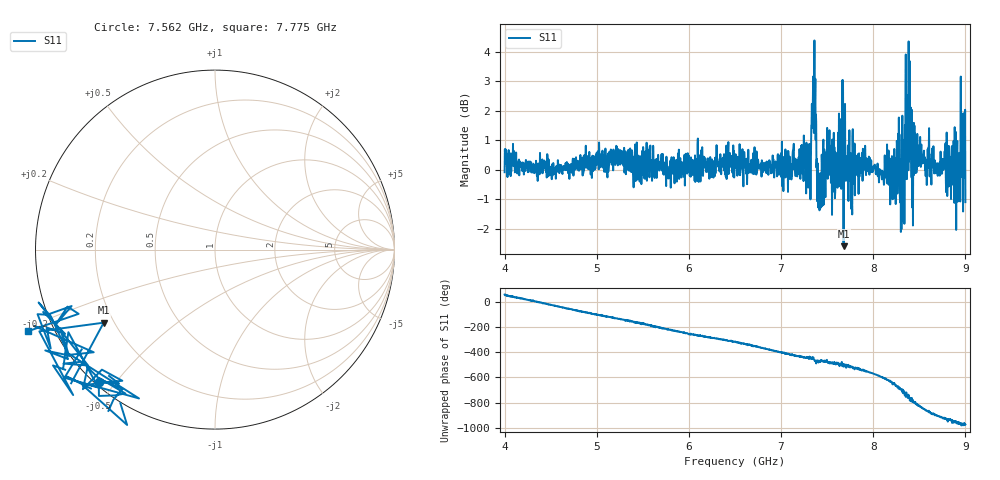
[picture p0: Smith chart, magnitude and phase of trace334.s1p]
! Created with skrf 1.8.0 (http://scikit-rf.org).
# Hz S RI R 50.0
!freq ReS11 ImS11
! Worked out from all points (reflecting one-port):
!   1601 points, 4 GHz to 9 GHz, reference 50 ohm
!   lowest |S11| = -2.6 dB at 7.678 GHz (marker M1), VSWR 6.75, Z = 8.05 - j14.6 ohm
!   phase of S11 starts at 56 deg and turns -1028 deg over the sweep
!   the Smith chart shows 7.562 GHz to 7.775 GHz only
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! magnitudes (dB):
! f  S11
! 4 GHz  -0.1
! 4.625 GHz  -0.1
! 5.25 GHz  0.2
! 5.875 GHz  -0.1
! 6.5 GHz  0.1
! 7.125 GHz  0.5
! 7.297 GHz  0.5
! 7.356 GHz  1.3
! 7.412 GHz  -0.6
! 7.509 GHz  0.0
! 7.588 GHz  -0.7
! 7.647 GHz  0.3
! 7.678 GHz  -2.6
! 7.75 GHz  0.3
! 7.891 GHz  0.2
! 8.228 GHz  0.7
! 8.259 GHz  0.7
! 8.312 GHz  1.5
! 8.334 GHz  0.2
! 8.347 GHz  -0.1
! 8.375 GHz  1.1
! 8.447 GHz  1.5
! 8.497 GHz  0.8
! 8.697 GHz  0.0
! 8.844 GHz  -1.0
! 8.919 GHz  0.0
! 8.972 GHz  0.4
! 9 GHz  -1.1
